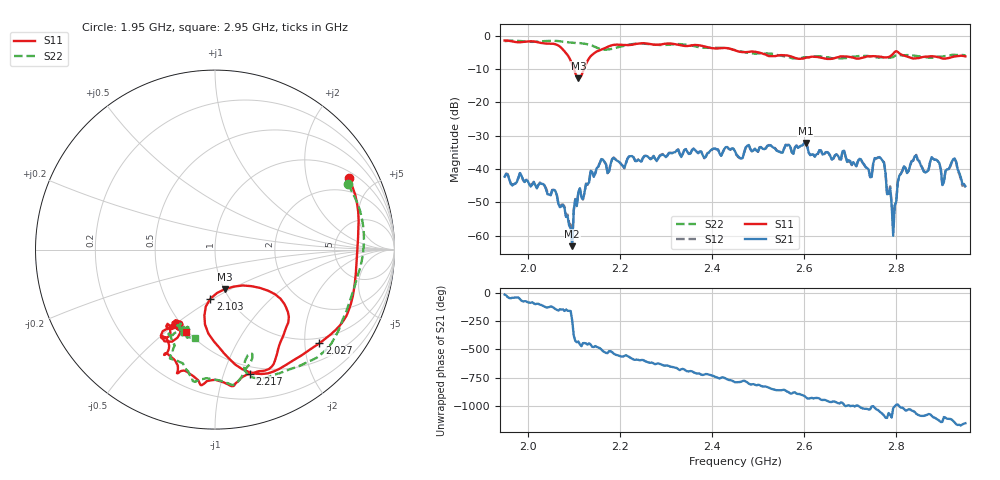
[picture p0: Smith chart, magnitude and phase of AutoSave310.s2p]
!Agilent N9923A: A.07.32
!Date: Thursday, 02 June 2016 23:48:24
!Model: N9923A
!Serial: MY52412257
!GPS Latitude:
!GPS Longitude:
!GPS TimeStamp: 0001-01-01 00:00:00Z
!GPS Seconds Since Last Read: 0
!CHECKSUM:0004197519
!Correction: S11(ON U)S21(ON U)S12(ON U)S22(ON U)
!S2P File: Measurements:S11,S21,S12,S22:
# Hz S DB R 50
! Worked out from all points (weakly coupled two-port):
!   301 points, 1.95 GHz to 2.95 GHz, reference 50 ohm
!   highest |S21| = -32.19 dB at 2.603 GHz (marker M1); lowest = -63.2 dB at 2.097 GHz (marker M2)
!   lowest |S11| = -12.9 dB at 2.11 GHz (marker M3), VSWR 1.59, Z = 50.4 - j23.4 ohm
!   |S11| at or under -10 dB: 2.1 GHz to 2.122 GHz (21.89 MHz wide, 1.04 % of centre)
!   |S22| runs from -6.9 to -1.5 dB; largest |S21 - S12| = 0.00065
!   S11 on the Smith chart (normalised r, x): 1.95 GHz: 1.30, +3.56; 2.027 GHz: 0.87, -2.33; 2.103 GHz: 0.82, -0.48; 2.217 GHz: 0.43, -1.23; 2.95 GHz: 0.49, -0.59
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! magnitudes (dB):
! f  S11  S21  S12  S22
! 1.95 GHz  -1.5  -42.3  -42.5  -1.7
! 2.027 GHz  -2.1  -44.3  -44.1  -1.8
! 2.077 GHz  -4.2  -50.8  -50.7  -1.8
! 2.097 GHz  -8.6  -63.2  -62.1  -2.2
! 2.103 GHz  -11.2  -49.1  -49.0  -2.2
! 2.11 GHz  -12.9  -46.9  -47.1  -2.3
! 2.12 GHz  -10.8  -49.1  -49.2  -2.4
! 2.16 GHz  -4.2  -37.1  -37.1  -4.1
! 2.217 GHz  -2.9  -37.0  -36.9  -2.8
! 2.287 GHz  -2.7  -36.1  -36.0  -2.8
! 2.453 GHz  -4.6  -35.7  -35.8  -4.5
! 2.603 GHz  -6.7  -32.2  -32.2  -6.5
! 2.62 GHz  -6.4  -35.7  -35.8  -6.3
! 2.743 GHz  -6.2  -42.5  -42.4  -6.3
! 2.763 GHz  -6.3  -36.5  -36.4  -6.6
! 2.783 GHz  -6.5  -47.5  -47.8  -6.7
! 2.793 GHz  -5.5  -60.0  -57.5  -6.5
! 2.807 GHz  -5.4  -42.0  -41.9  -5.9
! 2.84 GHz  -6.9  -36.2  -36.2  -6.0
! 2.9 GHz  -6.9  -44.9  -44.7  -6.3
! 2.927 GHz  -6.3  -36.9  -37.1  -5.8
! 2.95 GHz  -6.2  -45.2  -45.5  -5.9
